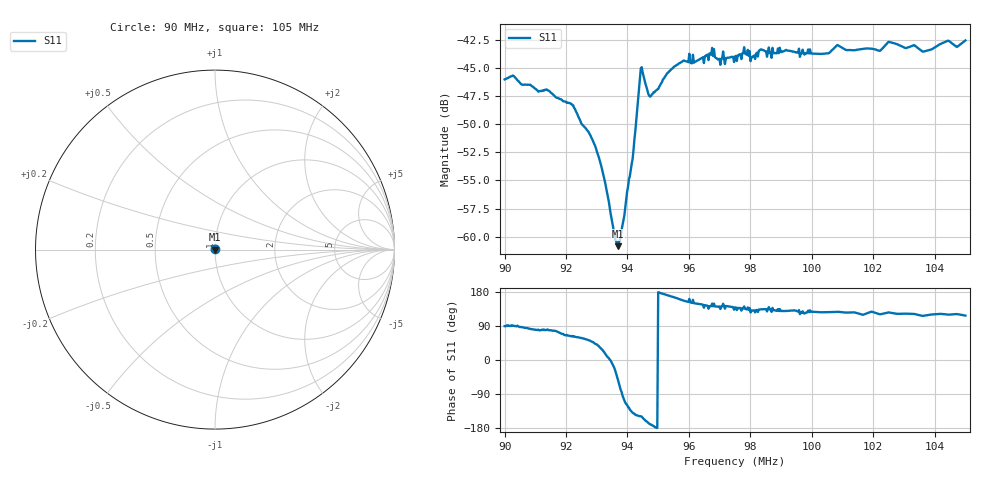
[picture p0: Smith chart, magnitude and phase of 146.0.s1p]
# HZ S RI R 50
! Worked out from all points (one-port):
!   505 points, 90 MHz to 105 MHz, reference 50 ohm
!   lowest |S11| = -60.8 dB at 93.69 MHz (marker M1), VSWR 1.00, Z = 50.1 - j0.0722 ohm
!   |S11| at or under -10 dB: start of sweep to end of sweep
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9e7  5.67e-05 0.00499
9.026786e7  -4.28e-05 0.0052
9.187501e7  0.00145 0.00376
9.223215e7  0.00181 0.00338
9.291668e7  0.00185 0.00181
9.318453e7  0.00175 0.000885
9.357144e7  0.000962 -0.000372
9.369049e7  0.000552 -0.000721
9.375001e7  0.00032 -0.000908
9.413692e7  -0.00154 -0.00144
9.443454e7  -0.00477 -0.00293
9.449406e7  -0.00475 -0.00249
9.476192e7  -0.00416 -0.000669
9.562502e7  -0.00554 0.00173
9.675597e7  -0.00591 0.00355
9.696431e7  -0.00479 0.00386
9.750002e7  -0.00474 0.00417
9.785717e7  -0.0045 0.00464
9.80655e7  -0.00408 0.00477
9.836312e7  -0.00471 0.00488
9.937503e7  -0.0043 0.00505
1.008631e8  -0.00427 0.00563
1.0125e8  -0.00391 0.0055
1.022024e8  -0.00345 0.00574
1.025298e8  -0.00422 0.00598
1.03125e8  -0.00368 0.00587
1.036608e8  -0.00302 0.00593
1.05e8  -0.0034 0.00662
